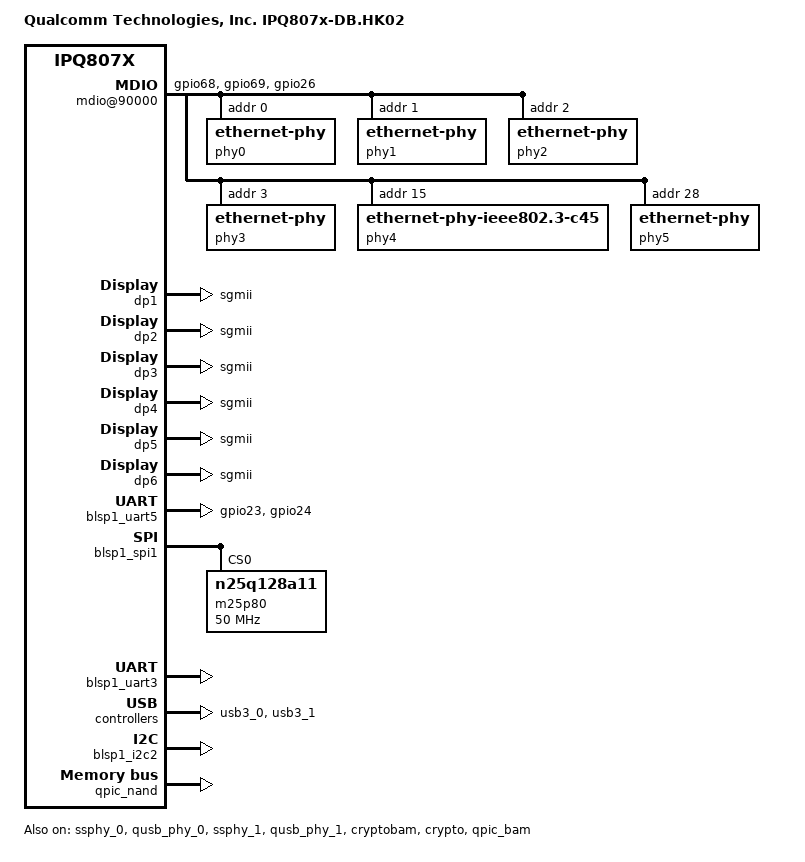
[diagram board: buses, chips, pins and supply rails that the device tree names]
/dts-v1/;
/*
 * Copyright (c) 2017-2018, The Linux Foundation. All rights reserved.
 * Copyright (c) 2022, Qualcomm Innovation Center, Inc. All rights reserved.
 * Permission to use, copy, modify, and/or distribute this software for any
 * purpose with or without fee is hereby granted, provided that the above
 * copyright notice and this permission notice appear in all copies.
 *
 * THE SOFTWARE IS PROVIDED "AS IS" AND THE AUTHOR DISCLAIMS ALL WARRANTIES
 * WITH REGARD TO THIS SOFTWARE INCLUDING ALL IMPLIED WARRANTIES OF
 * MERCHANTABILITY AND FITNESS. IN NO EVENT SHALL THE AUTHOR BE LIABLE FOR
 * ANY SPECIAL, DIRECT, INDIRECT, OR CONSEQUENTIAL DAMAGES OR ANY DAMAGES
 * WHATSOEVER RESULTING FROM LOSS OF USE, DATA OR PROFITS, WHETHER IN AN
 * ACTION OF CONTRACT, NEGLIGENCE OR OTHER TORTIOUS ACTION, ARISING OUT OF
 * OR IN CONNECTION WITH THE USE OR PERFORMANCE OF THIS SOFTWARE.
 */
#include "ipq8074.dtsi"
#include "ipq8074-hk-cpu.dtsi"

/ {
	#address-cells = <0x2>;
	#size-cells = <0x2>;
	model = "Qualcomm Technologies, Inc. IPQ807x-DB.HK02";
	compatible = "qcom,ipq807x-db.hk02", "qcom,ipq807x";
	qcom,msm-id = <0x143 0x0>;
	interrupt-parent = <&intc>;
	qcom,board-id = <0x8 0x0>;
	qcom,pmic-id = <0x0 0x0 0x0 0x0>;

	aliases {
		/*
		 * Aliases as required by u-boot
		 * to patch MAC addresses
		 */
		ethernet0 = "/soc/dp1";
		ethernet1 = "/soc/dp2";
		ethernet2 = "/soc/dp3";
		ethernet3 = "/soc/dp4";
		ethernet4 = "/soc/dp5";
		ethernet5 = "/soc/dp6";
	};

	chosen {
		bootargs = "console=ttyMSM0,115200,n8 root=/dev/ram0 rw init=/init";
		#ifdef __IPQ_MEM_PROFILE_256_MB__
			bootargs-append = " swiotlb=1";
		#else
			bootargs-append = " swiotlb=1 coherent_pool=2M";
		#endif
	};
};

&tlmm {
	mdio_pins: mdio_pinmux {
		mux_0 {
			pins = "gpio68";
			function = "mdc";
			drive-strength = <8>;
			bias-pull-up;
		};
		mux_1 {
			pins = "gpio69";
			function = "mdio";
			drive-strength = <8>;
			bias-pull-up;
		};
		mux_2 {
			pins = "gpio26";
			function = "gpio";
			bias-pull-up;
		};

	};

	uart_pins: uart_pins {
		mux {
			pins = "gpio23", "gpio24";
			function = "blsp4_uart1";
			drive-strength = <8>;
			bias-disable;
		};
	};

	i2c_0_pinmux {
		mux {
			pins = "gpio42", "gpio43";
			function = "blsp1_i2c";
			drive-strength = <8>;
			bias-disable;
		};
	};

	spi_0_pins {
		mux {
			pins = "gpio38", "gpio39", "gpio40", "gpio41";
			function = "blsp0_spi";
			drive-strength = <8>;
			bias-disable;
		};
	};

	qpic_pins {
		data_0 {
			pins = "gpio15";
			function = "qpic_pad0";
			drive-strength = <8>;
			bias-disable;
		};
		data_1 {
			pins = "gpio12";
			function = "qpic_pad1";
			drive-strength = <8>;
			bias-disable;
		};
		data_2 {
			pins = "gpio13";
			function = "qpic_pad2";
			drive-strength = <8>;
			bias-disable;
		};
		data_3 {
			pins = "gpio14";
			function = "qpic_pad3";
			drive-strength = <8>;
			bias-disable;
		};
		data_4 {
			pins = "gpio5";
			function = "qpic_pad4";
			drive-strength = <8>;
			bias-disable;
		};
		data_5 {
			pins = "gpio6";
			function = "qpic_pad5";
			drive-strength = <8>;
			bias-disable;
		};
		data_6 {
			pins = "gpio7";
			function = "qpic_pad6";
			drive-strength = <8>;
			bias-disable;
		};
		data_7 {
			pins = "gpio8";
			function = "qpic_pad7";
			drive-strength = <8>;
			bias-disable;
		};
		data_8 {
			pins = "gpio16";
			function = "qpic_pad8";
			drive-strength = <8>;
			bias-disable;
		};
		qpic_pad {
			pins = "gpio0", "gpio1", "gpio2", "gpio3", "gpio4",
			       "gpio9", "gpio10", "gpio11", "gpio17";
			function = "qpic_pad";
			drive-strength = <8>;
			bias-disable;
		};
	};

	hsuart_pins {
		mux {
			pins = "gpio46", "gpio47", "gpio48", "gpio49";
			function = "blsp2_uart";
			drive-strength = <8>;
			bias-disable;
		};
	};

	uniphy_pins: uniphy_pinmux {
		mux {
			pins = "gpio60";
			function = "rx2";
			bias-disable;
		};
	};
};

&soc {
	mdio@90000 {
		pinctrl-0 = <&mdio_pins>;
		pinctrl-names = "default";
		phy-reset-gpio = <&tlmm 37 0 &tlmm 26 1>;
		compatible = "qcom,ipq40xx-mdio", "qcom,qca-mdio";
		phy0: ethernet-phy@0 {
			reg = <0>;
		};
		phy1: ethernet-phy@1 {
			reg = <1>;
		};
		phy2: ethernet-phy@2 {
			reg = <2>;
		};
		phy3: ethernet-phy@3 {
			reg = <3>;
		};
		phy4: ethernet-phy@4 {
			compatible ="ethernet-phy-ieee802.3-c45";
			reg = <15>;
		};
		phy5: ethernet-phy@5 {
			reg = <28>;
		};
	};

	ess-switch@3a000000 {
		pinctrl-0 = <&uniphy_pins>;
		pinctrl-names = "default";
		switch_cpu_bmp = <0x1>;  /* cpu port bitmap */
		switch_lan_bmp = <0x3e>; /* lan port bitmap */
		switch_wan_bmp = <0x40>; /* wan port bitmap */
		switch_mac_mode = <0x0>; /* mac mode for uniphy instance0*/
		switch_mac_mode1 = <0xd>; /* mac mode for uniphy instance1*/
		switch_mac_mode2 = <0xc>; /* mac mode for uniphy instance2*/
		bm_tick_mode = <0>; /* bm tick mode */
		tm_tick_mode = <0>; /* tm tick mode */
		qcom,port_phyinfo {
			port@0 {
				port_id = <1>;
				phy_address = <0>;
			};
			port@1 {
				port_id = <2>;
				phy_address = <1>;
			};
			port@2 {
				port_id = <3>;
				phy_address = <2>;
			};
			port@3 {
				port_id = <4>;
				phy_address = <3>;
			};
			port@4 {
				port_id = <5>;
				phy_address = <15>;
				ethernet-phy-ieee802.3-c45;
			};
			port@5 {
				port_id = <6>;
				phy_address = <28>;
				port_mac_sel = "QGMAC_PORT";
			};
		};
	};
};

&soc {
	dp1 {
		device_type = "network";
		compatible = "qcom,nss-dp";
		qcom,id = <1>;
		reg = <0x3a001000 0x200>;
		qcom,mactype = <0>;
		local-mac-address = [000000000000];
		qcom,link-poll = <1>;
		qcom,phy-mdio-addr = <0>;
		phy-mode = "sgmii";
	};

	dp2 {
		device_type = "network";
		compatible = "qcom,nss-dp";
		qcom,id = <2>;
		reg = <0x3a001200 0x200>;
		qcom,mactype = <0>;
		local-mac-address = [000000000000];
		qcom,link-poll = <1>;
		qcom,phy-mdio-addr = <1>;
		phy-mode = "sgmii";
	};

	dp3 {
		device_type = "network";
		compatible = "qcom,nss-dp";
		qcom,id = <3>;
		reg = <0x3a001400 0x200>;
		qcom,mactype = <0>;
		local-mac-address = [000000000000];
		qcom,link-poll = <1>;
		qcom,phy-mdio-addr = <2>;
		phy-mode = "sgmii";
	};

	dp4 {
		device_type = "network";
		compatible = "qcom,nss-dp";
		qcom,id = <4>;
		reg = <0x3a001600 0x200>;
		qcom,mactype = <0>;
		local-mac-address = [000000000000];
		qcom,link-poll = <1>;
		qcom,phy-mdio-addr = <3>;
		phy-mode = "sgmii";
	};

	dp5 {
		device_type = "network";
		compatible = "qcom,nss-dp";
		qcom,id = <5>;
		reg = <0x3a003000 0x3fff>;
		qcom,mactype = <1>;
		local-mac-address = [000000000000];
		qcom,link-poll = <1>;
		qcom,phy-mdio-addr = <15>;
		phy-mode = "sgmii";
	};

	dp6 {
		device_type = "network";
		compatible = "qcom,nss-dp";
		qcom,id = <6>;
		reg = <0x3a001a00 0x200>;
		qcom,mactype = <0>;
		local-mac-address = [000000000000];
		qcom,link-poll = <1>;
		qcom,phy-mdio-addr = <28>;
		phy-mode = "sgmii";
	};
};

&blsp1_uart5 {
	pinctrl-0 = <&uart_pins>;
	pinctrl-names = "default";
	status = "ok";
};

&blsp1_spi1 { /* BLSP1 QUP1 */
	pinctrl-0 = <&spi_0_pins>;
	pinctrl-names = "default";
	status = "ok";

	m25p80@0 {
		#address-cells = <1>;
		#size-cells = <1>;
		reg = <0>;
		compatible = "n25q128a11";
		linux,modalias = "m25p80", "n25q128a11";
		spi-max-frequency = <50000000>;
		use-default-sizes;
	};
};

&blsp1_uart3 {
	pinctrl-0 = <&hsuart_pins>;
	pinctrl-names = "default";
	status = "ok";
};

&msm_imem {
	status = "disabled";
};

&ssphy_0 {
	status = "ok";
};

&qusb_phy_0 {
	status = "ok";
};

&ssphy_1 {
	status = "ok";
};

&qusb_phy_1 {
	status = "ok";
};

&usb3_0 {
	status = "ok";
};

&usb3_1 {
	status = "ok";
};

&cryptobam {
	status = "ok";
};

&crypto {
	status = "ok";
};

&blsp1_i2c2 {
	pinctrl-0 = <&i2c_0_pins>;
	pinctrl-names = "default";
	status = "ok";
};

&blsp1_i2c3 {
        status = "disabled";
};

&qpic_bam {
	status = "ok";
};

&qpic_nand {
	pinctrl-0 = <&qpic_pins>;
	pinctrl-names = "default";
	status = "ok";
};
